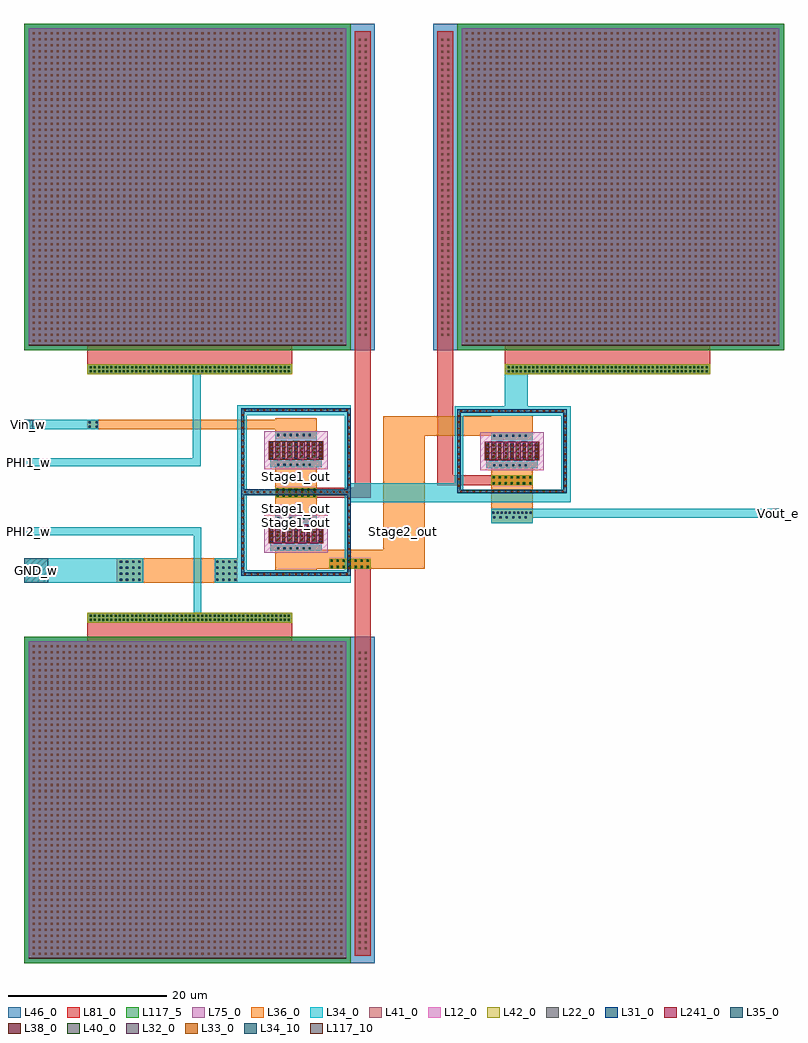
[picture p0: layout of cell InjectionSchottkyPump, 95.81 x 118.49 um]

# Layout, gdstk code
import gdstk
lib = gdstk.Library(unit=1e-6, precision=1e-09)
def R(c, l, rs):  # rectangles x0, y0, x1, y1
    for r in rs: c.add(gdstk.rectangle(r[:2], r[2:], *l))
def A(c, l, x, y, w, h, nx, ny, dx, dy):  # array of equal rectangles
    R(c, l, [(x+i*dx, y+j*dy, x+i*dx+w, y+j*dy+h) for i in range(nx) for j in range(ny)])
def P(c, l, *ps):  # polygons
    for p in ps: c.add(gdstk.Polygon(p, *l))
L12_0 = (12, 0)
L22_0 = (22, 0)
L31_0 = (31, 0)
L32_0 = (32, 0)
L33_0 = (33, 0)
L34_0 = (34, 0)
L34_10 = (34, 10)
L35_0 = (35, 0)
L36_0 = (36, 0)
L38_0 = (38, 0)
L40_0 = (40, 0)
L41_0 = (41, 0)
L42_0 = (42, 0)
L46_0 = (46, 0)
L75_0 = (75, 0)
L81_0 = (81, 0)
L117_5 = (117, 5)
L117_10 = (117, 10)
L241_0 = (241, 0)

sc_diode = lib.new_cell('sc_diode')
R(sc_diode, L12_0, [(-0.76,-1.4,7.28,3.4)])
A(sc_diode, L22_0, 0, 0, 0.36, 2, 5, 1, 1.54, 0)
A(sc_diode, L22_0, 0.64, 0, 0.62, 2, 4, 1, 1.54, 0)
P(sc_diode, L22_0, [(-3.62,-4.26),(-3.62,5.9),(-3.26,5.9),(-3.26,-3.9),(9.78,-3.9),(9.78,5.9),(-3.62,5.9),(-3.62,6.26),(10.14,6.26),(10.14,-4.26)])
P(sc_diode, L31_0, [(-3.65,-4.29),(-3.65,5.87),(-3.23,5.87),(-3.23,-3.87),(9.75,-3.87),(9.75,5.87),(-3.65,5.87),(-3.65,6.29),(10.17,6.29),(10.17,-4.29)])
A(sc_diode, L32_0, -0.03, -0.03, 0.42, 2.06, 5, 1, 1.54, 0)
A(sc_diode, L33_0, 0.07, 0.185, 0.22, 0.22, 9, 4, 0.77, 0.47)
A(sc_diode, L34_0, 0, -0.23, 0.36, 2.23, 5, 1, 1.54, 0)
A(sc_diode, L34_0, 0.64, 0, 0.62, 2.23, 4, 1, 1.54, 0)
R(sc_diode, L34_0, [(0,-0.46,6.52,-0.23), (0.64,2.23,5.88,2.46)])
R(sc_diode, L241_0, [(-0.16,-0.16,6.68,2.16)])

cap_mim = lib.new_cell('cap_mim')
A(cap_mim, L41_0, 0.49, 0.49, 0.26, 0.26, 52, 52, 0.76, 0.76)
R(cap_mim, L46_0, [(-0.6,-0.6,40.6,40.6)])
R(cap_mim, L75_0, [(0,0,40,40)])
R(cap_mim, L81_0, [(0,0,40,40)])
R(cap_mim, L117_5, [(-0.6,-0.6,40.6,40.6)])
R(cap_mim, L117_10, [(0,0,40,0.1)])

injectionschottkypump = lib.new_cell('InjectionSchottkyPump')
A(injectionschottkypump, L33_0, 27.76, 48.97, 0.22, 0.22, 17, 2, 0.8, 20.68)
A(injectionschottkypump, L33_0, 27.47, 49.7, 0.22, 0.22, 1, 12, 0, 0.8)
A(injectionschottkypump, L33_0, 40.87, 49.7, 0.22, 0.22, 1, 12, 0, 0.8)
A(injectionschottkypump, L33_0, 54.7, 60.12, 0.22, 0.22, 1, 12, 0, 0.8)
A(injectionschottkypump, L33_0, 68.1, 60.12, 0.22, 0.22, 1, 12, 0, 0.8)
A(injectionschottkypump, L33_0, 27.47, 60.22, 0.22, 0.22, 1, 12, 0, 0.8)
A(injectionschottkypump, L33_0, 40.87, 60.22, 0.22, 0.22, 1, 12, 0, 0.8)
A(injectionschottkypump, L33_0, 54.99, 69.55, 0.22, 0.22, 17, 1, 0.8, 0)
R(injectionschottkypump, L33_0, [(27.76,59.34,27.98,59.56), (27.76,59.34,27.98,59.56), (28.56,59.34,28.78,59.56), (28.56,59.34,28.78,59.56), (29.36,59.34,29.58,59.56), (29.36,59.34,29.58,59.56), (30.16,59.34,30.38,59.56), (30.16,59.34,30.38,59.56), (30.96,59.34,31.18,59.56), (30.96,59.34,31.18,59.56), (31.76,59.34,31.98,59.56), (31.76,59.34,31.98,59.56), (32.56,59.34,32.78,59.56), (32.56,59.34,32.78,59.56), (33.36,59.34,33.58,59.56), (33.36,59.34,33.58,59.56), (34.16,59.34,34.38,59.56), (34.16,59.34,34.38,59.56), (34.96,59.34,35.18,59.56), (34.96,59.34,35.18,59.56), (35.76,59.34,35.98,59.56), (35.76,59.34,35.98,59.56), (36.56,59.34,36.78,59.56), (36.56,59.34,36.78,59.56), (37.36,59.34,37.58,59.56), (37.36,59.34,37.58,59.56), (38.16,59.34,38.38,59.56), (38.16,59.34,38.38,59.56), (38.96,59.34,39.18,59.56), (38.96,59.34,39.18,59.56), (39.76,59.34,39.98,59.56), (39.76,59.34,39.98,59.56), (40.56,59.34,40.78,59.56), (40.56,59.34,40.78,59.56), (54.99,59.39,55.21,59.61), (54.99,59.39,55.21,59.61), (55.79,59.39,56.01,59.61), (55.79,59.39,56.01,59.61), (56.59,59.39,56.81,59.61), (56.59,59.39,56.81,59.61), (57.39,59.39,57.61,59.61), (57.39,59.39,57.61,59.61), (58.19,59.39,58.41,59.61), (58.19,59.39,58.41,59.61), (58.99,59.39,59.21,59.61), (58.99,59.39,59.21,59.61), (59.79,59.39,60.01,59.61), (59.79,59.39,60.01,59.61), (60.59,59.39,60.81,59.61), (60.59,59.39,60.81,59.61), (61.39,59.39,61.61,59.61), (61.39,59.39,61.61,59.61), (62.19,59.39,62.41,59.61), (62.19,59.39,62.41,59.61), (62.99,59.39,63.21,59.61), (62.99,59.39,63.21,59.61), (63.79,59.39,64.01,59.61), (63.79,59.39,64.01,59.61), (64.59,59.39,64.81,59.61), (64.59,59.39,64.81,59.61), (65.39,59.39,65.61,59.61), (65.39,59.39,65.61,59.61), (66.19,59.39,66.41,59.61), (66.19,59.39,66.41,59.61), (66.99,59.39,67.21,59.61), (66.99,59.39,67.21,59.61), (67.79,59.39,68.01,59.61), (67.79,59.39,68.01,59.61)])
A(injectionschottkypump, L34_0, 7.945, 42.965, 2.47, 1.245, 16, 2, 1.56, 31.315)
A(injectionschottkypump, L34_0, 60.605, 74.28, 2.47, 1.245, 16, 1, 1.56, 0)
R(injectionschottkypump, L34_0, [(21.365,44.18,22.365,55), (0,48.02,15,51.07), (24.01,48.02,27.375,51.07), (26.9,48.02,28.09,69.97), (26.9,48.02,41.19,49.545), (27.375,48.02,41.195,48.99), (40.46,48.02,41.19,70.35), (27.375,48.84,41.195,48.87), (27.37,48.87,41.19,49.29), (27.37,48.87,27.79,59.03), (40.77,48.87,41.19,59.45), (31.02,52.02,37.54,52.7), (19.435,54,22.365,55), (58.885,55.52,64.13,56.46), (58.885,55.52,64.13,56.46), (58.89,55.52,64.135,56.46), (58.89,55.52,64.135,56.46), (58.89,55.52,64.135,56.46), (58.89,55.52,64.135,56.46), (31.66,55.62,36.905,56.56), (31.66,55.62,36.905,56.56), (31.66,55.62,36.905,56.56), (31.66,55.62,36.905,56.56), (58.885,55.77,64.13,56.71), (58.885,55.77,64.13,56.71), (58.89,55.77,64.135,56.71), (58.89,55.77,64.135,56.71), (58.89,55.77,64.135,56.71), (58.89,55.77,64.135,56.71), (86.405,56.16,95.795,57.32), (41.095,58.15,54.695,60.545), (41.095,58.15,54.695,60.545), (41.095,58.15,54.695,60.545), (54.28,58.15,55.35,70.25), (54.695,58.15,68.415,59.15), (67.74,58.15,68.92,70.25), (54.6,58.58,68.315,59.71), (27.37,59.03,40.77,59.39), (54.6,59.29,68.42,59.71), (54.6,59.29,68.42,59.71), (54.6,59.29,55.02,69.45), (68,59.29,68.42,69.87), (27.37,59.39,41.19,59.81), (27.37,59.39,41.19,59.81), (27.37,59.39,27.79,69.55), (40.77,59.39,41.19,69.97), (58.25,62.44,64.77,63.12), (31.02,62.54,37.54,63.22), (19.335,62.7,22.265,63.7), (21.26,63.01,22.265,75.29), (58.885,66.04,64.13,66.98), (58.89,66.04,64.135,66.98), (58.89,66.04,64.135,66.98), (31.66,66.14,36.905,67.08), (31.66,66.14,36.905,67.08), (-0.005,67.37,9.385,68.53), (54.28,69.07,68.92,70.25), (26.9,69.11,41.19,70.35), (54.6,69.45,68.42,69.87), (27.37,69.55,41.19,69.97), (60.605,69.73,63.495,74.28)])
R(injectionschottkypump, L34_10, [(0,48.02,3.04,51.07), (0,54,1.015,55), (94.505,56.16,95.795,57.32), (94.505,56.16,95.795,57.32), (0,62.7,1.015,63.7), (-0.005,67.37,1.175,68.53), (-0.005,67.37,1.175,68.53)])
A(injectionschottkypump, L35_0, 8.29, 43.185, 0.26, 0.26, 4, 2, 0.52, 0.52)
A(injectionschottkypump, L35_0, 9.85, 43.185, 0.26, 0.26, 4, 2, 0.52, 0.52)
A(injectionschottkypump, L35_0, 11.41, 43.185, 0.26, 0.26, 4, 2, 0.52, 0.52)
A(injectionschottkypump, L35_0, 12.97, 43.185, 0.26, 0.26, 4, 2, 0.52, 0.52)
A(injectionschottkypump, L35_0, 14.53, 43.185, 0.26, 0.26, 4, 2, 0.52, 0.52)
A(injectionschottkypump, L35_0, 16.09, 43.185, 0.26, 0.26, 4, 2, 0.52, 0.52)
A(injectionschottkypump, L35_0, 17.65, 43.185, 0.26, 0.26, 4, 2, 0.52, 0.52)
A(injectionschottkypump, L35_0, 19.21, 43.185, 0.26, 0.26, 4, 2, 0.52, 0.52)
A(injectionschottkypump, L35_0, 20.77, 43.185, 0.26, 0.26, 4, 2, 0.52, 0.52)
A(injectionschottkypump, L35_0, 22.33, 43.185, 0.26, 0.26, 4, 2, 0.52, 0.52)
A(injectionschottkypump, L35_0, 23.89, 43.185, 0.26, 0.26, 4, 2, 0.52, 0.52)
A(injectionschottkypump, L35_0, 25.45, 43.185, 0.26, 0.26, 4, 2, 0.52, 0.52)
A(injectionschottkypump, L35_0, 27.01, 43.185, 0.26, 0.26, 4, 2, 0.52, 0.52)
A(injectionschottkypump, L35_0, 28.57, 43.185, 0.26, 0.26, 4, 2, 0.52, 0.52)
A(injectionschottkypump, L35_0, 30.13, 43.185, 0.26, 0.26, 4, 2, 0.52, 0.52)
A(injectionschottkypump, L35_0, 31.69, 43.185, 0.26, 0.26, 4, 2, 0.52, 0.52)
A(injectionschottkypump, L35_0, 12.09, 48.22, 0.26, 0.26, 4, 4, 0.76, 0.76)
A(injectionschottkypump, L35_0, 24.2, 48.23, 0.26, 0.26, 3, 4, 0.76, 0.76)
A(injectionschottkypump, L35_0, 25.72, 48.23, 0.26, 0.26, 1, 4, 0, 0.76)
A(injectionschottkypump, L35_0, 31.905, 52.24, 0.26, 0.26, 6, 2, 0.8, 10.52)
A(injectionschottkypump, L35_0, 59.045, 56.705, 0.26, 0.26, 10, 1, 0.52, 0)
A(injectionschottkypump, L35_0, 59.135, 62.66, 0.26, 0.26, 6, 2, 0.8, 3.73)
A(injectionschottkypump, L35_0, 8.29, 74.525, 0.26, 0.26, 4, 2, 0.52, 0.52)
A(injectionschottkypump, L35_0, 9.85, 74.525, 0.26, 0.26, 4, 2, 0.52, 0.52)
A(injectionschottkypump, L35_0, 11.41, 74.525, 0.26, 0.26, 4, 2, 0.52, 0.52)
A(injectionschottkypump, L35_0, 12.97, 74.525, 0.26, 0.26, 4, 2, 0.52, 0.52)
A(injectionschottkypump, L35_0, 14.53, 74.525, 0.26, 0.26, 4, 2, 0.52, 0.52)
A(injectionschottkypump, L35_0, 16.09, 74.525, 0.26, 0.26, 4, 2, 0.52, 0.52)
A(injectionschottkypump, L35_0, 17.65, 74.525, 0.26, 0.26, 4, 2, 0.52, 0.52)
A(injectionschottkypump, L35_0, 19.21, 74.525, 0.26, 0.26, 4, 2, 0.52, 0.52)
A(injectionschottkypump, L35_0, 20.77, 74.525, 0.26, 0.26, 4, 2, 0.52, 0.52)
A(injectionschottkypump, L35_0, 22.33, 74.525, 0.26, 0.26, 4, 2, 0.52, 0.52)
A(injectionschottkypump, L35_0, 23.89, 74.525, 0.26, 0.26, 4, 2, 0.52, 0.52)
A(injectionschottkypump, L35_0, 25.45, 74.525, 0.26, 0.26, 4, 2, 0.52, 0.52)
A(injectionschottkypump, L35_0, 27.01, 74.525, 0.26, 0.26, 4, 2, 0.52, 0.52)
A(injectionschottkypump, L35_0, 28.57, 74.525, 0.26, 0.26, 4, 2, 0.52, 0.52)
A(injectionschottkypump, L35_0, 30.13, 74.525, 0.26, 0.26, 4, 2, 0.52, 0.52)
A(injectionschottkypump, L35_0, 31.69, 74.525, 0.26, 0.26, 4, 2, 0.52, 0.52)
A(injectionschottkypump, L35_0, 60.95, 74.525, 0.26, 0.26, 4, 2, 0.52, 0.52)
A(injectionschottkypump, L35_0, 62.51, 74.525, 0.26, 0.26, 4, 2, 0.52, 0.52)
A(injectionschottkypump, L35_0, 64.07, 74.525, 0.26, 0.26, 4, 2, 0.52, 0.52)
A(injectionschottkypump, L35_0, 65.63, 74.525, 0.26, 0.26, 4, 2, 0.52, 0.52)
A(injectionschottkypump, L35_0, 67.19, 74.525, 0.26, 0.26, 4, 2, 0.52, 0.52)
A(injectionschottkypump, L35_0, 68.75, 74.525, 0.26, 0.26, 4, 2, 0.52, 0.52)
A(injectionschottkypump, L35_0, 70.31, 74.525, 0.26, 0.26, 4, 2, 0.52, 0.52)
A(injectionschottkypump, L35_0, 71.87, 74.525, 0.26, 0.26, 4, 2, 0.52, 0.52)
A(injectionschottkypump, L35_0, 73.43, 74.525, 0.26, 0.26, 4, 2, 0.52, 0.52)
A(injectionschottkypump, L35_0, 74.99, 74.525, 0.26, 0.26, 4, 2, 0.52, 0.52)
A(injectionschottkypump, L35_0, 76.55, 74.525, 0.26, 0.26, 4, 2, 0.52, 0.52)
A(injectionschottkypump, L35_0, 78.11, 74.525, 0.26, 0.26, 4, 2, 0.52, 0.52)
A(injectionschottkypump, L35_0, 79.67, 74.525, 0.26, 0.26, 4, 2, 0.52, 0.52)
A(injectionschottkypump, L35_0, 81.23, 74.525, 0.26, 0.26, 4, 2, 0.52, 0.52)
A(injectionschottkypump, L35_0, 82.79, 74.525, 0.26, 0.26, 4, 2, 0.52, 0.52)
A(injectionschottkypump, L35_0, 84.35, 74.525, 0.26, 0.26, 4, 2, 0.52, 0.52)
R(injectionschottkypump, L35_0, [(8.29,43.705,8.55,43.965), (9.85,43.705,10.11,43.965), (11.41,43.705,11.67,43.965), (12.97,43.705,13.23,43.965), (14.53,43.705,14.79,43.965), (16.09,43.705,16.35,43.965), (17.65,43.705,17.91,43.965), (19.21,43.705,19.47,43.965), (20.77,43.705,21.03,43.965), (22.33,43.705,22.59,43.965), (23.89,43.705,24.15,43.965), (25.45,43.705,25.71,43.965), (27.01,43.705,27.27,43.965), (28.57,43.705,28.83,43.965), (30.13,43.705,30.39,43.965), (31.69,43.705,31.95,43.965), (26.48,48.23,26.74,48.49), (26.48,48.23,26.74,48.49), (26.48,48.99,26.74,49.25), (26.48,48.99,26.74,49.25), (26.48,49.75,26.74,50.01), (26.48,49.75,26.74,50.01), (26.48,50.51,26.74,50.77), (26.48,50.51,26.74,50.77), (31.91,55.97,32.17,56.23), (31.91,55.97,32.17,56.23), (32.71,55.97,32.97,56.23), (32.71,55.97,32.97,56.23), (33.51,55.97,33.77,56.23), (33.51,55.97,33.77,56.23), (34.31,55.97,34.57,56.23), (34.31,55.97,34.57,56.23), (35.11,55.97,35.37,56.23), (35.11,55.97,35.37,56.23), (35.91,55.97,36.17,56.23), (35.91,55.97,36.17,56.23), (59.135,56.12,59.395,56.38), (59.135,56.12,59.395,56.38), (59.935,56.12,60.195,56.38), (59.935,56.12,60.195,56.38), (60.735,56.12,60.995,56.38), (60.735,56.12,60.995,56.38), (61.535,56.12,61.795,56.38), (61.535,56.12,61.795,56.38), (62.335,56.12,62.595,56.38), (62.335,56.12,62.595,56.38), (63.135,56.12,63.395,56.38), (63.135,56.12,63.395,56.38), (31.91,66.49,32.17,66.75), (31.91,66.49,32.17,66.75), (32.71,66.49,32.97,66.75), (32.71,66.49,32.97,66.75), (33.51,66.49,33.77,66.75), (33.51,66.49,33.77,66.75), (34.31,66.49,34.57,66.75), (34.31,66.49,34.57,66.75), (35.11,66.49,35.37,66.75), (35.11,66.49,35.37,66.75), (35.91,66.49,36.17,66.75), (35.91,66.49,36.17,66.75), (8.175,67.53,8.435,67.79), (9.015,67.53,9.275,67.79), (8.175,68.07,8.435,68.33), (9.015,68.07,9.275,68.33), (8.29,74.525,8.55,74.785), (9.85,74.525,10.11,74.785), (11.41,74.525,11.67,74.785), (12.97,74.525,13.23,74.785), (14.53,74.525,14.79,74.785), (16.09,74.525,16.35,74.785), (17.65,74.525,17.91,74.785), (19.21,74.525,19.47,74.785), (20.77,74.525,21.03,74.785), (22.33,74.525,22.59,74.785), (23.89,74.525,24.15,74.785), (25.45,74.525,25.71,74.785), (27.01,74.525,27.27,74.785), (28.57,74.525,28.83,74.785), (30.13,74.525,30.39,74.785), (31.69,74.525,31.95,74.785), (60.95,74.525,61.21,74.785), (62.51,74.525,62.77,74.785), (64.07,74.525,64.33,74.785), (65.63,74.525,65.89,74.785), (67.19,74.525,67.45,74.785), (68.75,74.525,69.01,74.785), (70.31,74.525,70.57,74.785), (71.87,74.525,72.13,74.785), (73.43,74.525,73.69,74.785), (74.99,74.525,75.25,74.785), (76.55,74.525,76.81,74.785), (78.11,74.525,78.37,74.785), (79.67,74.525,79.93,74.785), (81.23,74.525,81.49,74.785), (82.79,74.525,83.05,74.785), (84.35,74.525,84.61,74.785)])
A(injectionschottkypump, L36_0, 7.945, 42.965, 2.47, 1.245, 16, 2, 1.56, 31.315)
A(injectionschottkypump, L36_0, 60.605, 74.28, 2.47, 1.245, 16, 1, 1.56, 0)
R(injectionschottkypump, L36_0, [(11.68,48.02,26.9,51.07), (31.665,49.58,36.905,52.02), (36.905,49.73,45.275,52.17), (36.905,49.73,45.275,52.17), (36.905,49.73,45.275,52.17), (45.275,49.73,50.515,68.99), (45.275,49.73,50.515,68.99), (45.275,49.73,50.515,68.99), (31.02,52.02,37.54,52.7), (58.89,55.52,64.125,56.44), (58.89,55.52,64.125,56.44), (31.665,55.62,36.9,56.54), (31.665,55.62,36.9,56.54), (58.89,55.77,64.125,56.69), (58.89,55.77,64.125,56.69), (58.885,56.16,64.125,60.28), (31.665,56.39,36.905,62.33), (31.665,56.39,36.905,62.33), (31.665,56.39,36.905,62.33), (58.885,56.39,64.125,62.33), (58.885,56.39,64.125,62.33), (31.665,62.33,36.91,62.54), (58.885,62.33,64.13,62.44), (58.25,62.44,64.77,63.12), (31.02,62.54,37.54,63.22), (58.89,66.04,64.125,66.96), (31.665,66.14,36.9,67.06), (31.665,66.14,36.9,67.06), (50.515,66.55,58.885,68.99), (50.515,66.55,58.885,68.99), (50.515,66.55,58.885,68.99), (58.885,66.55,58.89,66.66), (58.885,66.66,64.125,69.1), (31.665,66.76,36.905,68.74), (7.995,67.37,31.665,68.53)])
A(injectionschottkypump, L38_0, 8.29, 43.185, 0.26, 0.26, 4, 2, 0.52, 0.52)
A(injectionschottkypump, L38_0, 9.85, 43.185, 0.26, 0.26, 4, 2, 0.52, 0.52)
A(injectionschottkypump, L38_0, 11.41, 43.185, 0.26, 0.26, 4, 2, 0.52, 0.52)
A(injectionschottkypump, L38_0, 12.97, 43.185, 0.26, 0.26, 4, 2, 0.52, 0.52)
A(injectionschottkypump, L38_0, 14.53, 43.185, 0.26, 0.26, 4, 2, 0.52, 0.52)
A(injectionschottkypump, L38_0, 16.09, 43.185, 0.26, 0.26, 4, 2, 0.52, 0.52)
A(injectionschottkypump, L38_0, 17.65, 43.185, 0.26, 0.26, 4, 2, 0.52, 0.52)
A(injectionschottkypump, L38_0, 19.21, 43.185, 0.26, 0.26, 4, 2, 0.52, 0.52)
A(injectionschottkypump, L38_0, 20.77, 43.185, 0.26, 0.26, 4, 2, 0.52, 0.52)
A(injectionschottkypump, L38_0, 22.33, 43.185, 0.26, 0.26, 4, 2, 0.52, 0.52)
A(injectionschottkypump, L38_0, 23.89, 43.185, 0.26, 0.26, 4, 2, 0.52, 0.52)
A(injectionschottkypump, L38_0, 25.45, 43.185, 0.26, 0.26, 4, 2, 0.52, 0.52)
A(injectionschottkypump, L38_0, 27.01, 43.185, 0.26, 0.26, 4, 2, 0.52, 0.52)
A(injectionschottkypump, L38_0, 28.57, 43.185, 0.26, 0.26, 4, 2, 0.52, 0.52)
A(injectionschottkypump, L38_0, 30.13, 43.185, 0.26, 0.26, 4, 2, 0.52, 0.52)
A(injectionschottkypump, L38_0, 31.69, 43.185, 0.26, 0.26, 4, 2, 0.52, 0.52)
A(injectionschottkypump, L38_0, 59.095, 60.4, 0.26, 0.26, 7, 2, 0.76, 0.76)
A(injectionschottkypump, L38_0, 8.29, 74.525, 0.26, 0.26, 4, 2, 0.52, 0.52)
A(injectionschottkypump, L38_0, 9.85, 74.525, 0.26, 0.26, 4, 2, 0.52, 0.52)
A(injectionschottkypump, L38_0, 11.41, 74.525, 0.26, 0.26, 4, 2, 0.52, 0.52)
A(injectionschottkypump, L38_0, 12.97, 74.525, 0.26, 0.26, 4, 2, 0.52, 0.52)
A(injectionschottkypump, L38_0, 14.53, 74.525, 0.26, 0.26, 4, 2, 0.52, 0.52)
A(injectionschottkypump, L38_0, 16.09, 74.525, 0.26, 0.26, 4, 2, 0.52, 0.52)
A(injectionschottkypump, L38_0, 17.65, 74.525, 0.26, 0.26, 4, 2, 0.52, 0.52)
A(injectionschottkypump, L38_0, 19.21, 74.525, 0.26, 0.26, 4, 2, 0.52, 0.52)
A(injectionschottkypump, L38_0, 20.77, 74.525, 0.26, 0.26, 4, 2, 0.52, 0.52)
A(injectionschottkypump, L38_0, 22.33, 74.525, 0.26, 0.26, 4, 2, 0.52, 0.52)
A(injectionschottkypump, L38_0, 23.89, 74.525, 0.26, 0.26, 4, 2, 0.52, 0.52)
A(injectionschottkypump, L38_0, 25.45, 74.525, 0.26, 0.26, 4, 2, 0.52, 0.52)
A(injectionschottkypump, L38_0, 27.01, 74.525, 0.26, 0.26, 4, 2, 0.52, 0.52)
A(injectionschottkypump, L38_0, 28.57, 74.525, 0.26, 0.26, 4, 2, 0.52, 0.52)
A(injectionschottkypump, L38_0, 30.13, 74.525, 0.26, 0.26, 4, 2, 0.52, 0.52)
A(injectionschottkypump, L38_0, 31.69, 74.525, 0.26, 0.26, 4, 2, 0.52, 0.52)
A(injectionschottkypump, L38_0, 60.95, 74.525, 0.26, 0.26, 4, 2, 0.52, 0.52)
A(injectionschottkypump, L38_0, 62.51, 74.525, 0.26, 0.26, 4, 2, 0.52, 0.52)
A(injectionschottkypump, L38_0, 64.07, 74.525, 0.26, 0.26, 4, 2, 0.52, 0.52)
A(injectionschottkypump, L38_0, 65.63, 74.525, 0.26, 0.26, 4, 2, 0.52, 0.52)
A(injectionschottkypump, L38_0, 67.19, 74.525, 0.26, 0.26, 4, 2, 0.52, 0.52)
A(injectionschottkypump, L38_0, 68.75, 74.525, 0.26, 0.26, 4, 2, 0.52, 0.52)
A(injectionschottkypump, L38_0, 70.31, 74.525, 0.26, 0.26, 4, 2, 0.52, 0.52)
A(injectionschottkypump, L38_0, 71.87, 74.525, 0.26, 0.26, 4, 2, 0.52, 0.52)
A(injectionschottkypump, L38_0, 73.43, 74.525, 0.26, 0.26, 4, 2, 0.52, 0.52)
A(injectionschottkypump, L38_0, 74.99, 74.525, 0.26, 0.26, 4, 2, 0.52, 0.52)
A(injectionschottkypump, L38_0, 76.55, 74.525, 0.26, 0.26, 4, 2, 0.52, 0.52)
A(injectionschottkypump, L38_0, 78.11, 74.525, 0.26, 0.26, 4, 2, 0.52, 0.52)
A(injectionschottkypump, L38_0, 79.67, 74.525, 0.26, 0.26, 4, 2, 0.52, 0.52)
A(injectionschottkypump, L38_0, 81.23, 74.525, 0.26, 0.26, 4, 2, 0.52, 0.52)
A(injectionschottkypump, L38_0, 82.79, 74.525, 0.26, 0.26, 4, 2, 0.52, 0.52)
A(injectionschottkypump, L38_0, 84.35, 74.525, 0.26, 0.26, 4, 2, 0.52, 0.52)
R(injectionschottkypump, L38_0, [(38.665,49.85,38.925,50.11), (38.665,49.85,38.925,50.11), (39.425,49.85,39.685,50.11), (39.425,49.85,39.685,50.11), (40.185,49.85,40.445,50.11), (40.185,49.85,40.445,50.11), (40.945,49.85,41.205,50.11), (40.945,49.85,41.205,50.11), (41.705,49.85,41.965,50.11), (41.705,49.85,41.965,50.11), (42.465,49.85,42.725,50.11), (42.465,49.85,42.725,50.11), (43.225,49.85,43.485,50.11), (43.225,49.85,43.485,50.11), (38.665,50.61,38.925,50.87), (38.665,50.61,38.925,50.87), (39.425,50.61,39.685,50.87), (39.425,50.61,39.685,50.87), (40.185,50.61,40.445,50.87), (40.185,50.61,40.445,50.87), (40.945,50.61,41.205,50.87), (40.945,50.61,41.205,50.87), (41.705,50.61,41.965,50.87), (41.705,50.61,41.965,50.87), (42.465,50.61,42.725,50.87), (42.465,50.61,42.725,50.87), (43.225,50.61,43.485,50.87), (43.225,50.61,43.485,50.87), (31.875,58.85,32.135,59.11), (31.875,58.85,32.135,59.11), (32.635,58.85,32.895,59.11), (32.635,58.85,32.895,59.11), (33.395,58.85,33.655,59.11), (33.395,58.85,33.655,59.11), (34.155,58.85,34.415,59.11), (34.155,58.85,34.415,59.11), (34.915,58.85,35.175,59.11), (34.915,58.85,35.175,59.11), (35.675,58.85,35.935,59.11), (35.675,58.85,35.935,59.11), (36.435,58.85,36.695,59.11), (36.435,58.85,36.695,59.11), (31.875,59.61,32.135,59.87), (31.875,59.61,32.135,59.87), (32.635,59.61,32.895,59.87), (32.635,59.61,32.895,59.87), (33.395,59.61,33.655,59.87), (33.395,59.61,33.655,59.87), (34.155,59.61,34.415,59.87), (34.155,59.61,34.415,59.87), (34.915,59.61,35.175,59.87), (34.915,59.61,35.175,59.87), (35.675,59.61,35.935,59.87), (35.675,59.61,35.935,59.87), (36.435,59.61,36.695,59.87), (36.435,59.61,36.695,59.87)])
A(injectionschottkypump, L40_0, 8.29, 43.185, 0.26, 0.26, 4, 2, 0.52, 0.52)
A(injectionschottkypump, L40_0, 9.85, 43.185, 0.26, 0.26, 4, 2, 0.52, 0.52)
A(injectionschottkypump, L40_0, 11.41, 43.185, 0.26, 0.26, 4, 2, 0.52, 0.52)
A(injectionschottkypump, L40_0, 12.97, 43.185, 0.26, 0.26, 4, 2, 0.52, 0.52)
A(injectionschottkypump, L40_0, 14.53, 43.185, 0.26, 0.26, 4, 2, 0.52, 0.52)
A(injectionschottkypump, L40_0, 16.09, 43.185, 0.26, 0.26, 4, 2, 0.52, 0.52)
A(injectionschottkypump, L40_0, 17.65, 43.185, 0.26, 0.26, 4, 2, 0.52, 0.52)
A(injectionschottkypump, L40_0, 19.21, 43.185, 0.26, 0.26, 4, 2, 0.52, 0.52)
A(injectionschottkypump, L40_0, 20.77, 43.185, 0.26, 0.26, 4, 2, 0.52, 0.52)
A(injectionschottkypump, L40_0, 22.33, 43.185, 0.26, 0.26, 4, 2, 0.52, 0.52)
A(injectionschottkypump, L40_0, 23.89, 43.185, 0.26, 0.26, 4, 2, 0.52, 0.52)
A(injectionschottkypump, L40_0, 25.45, 43.185, 0.26, 0.26, 4, 2, 0.52, 0.52)
A(injectionschottkypump, L40_0, 27.01, 43.185, 0.26, 0.26, 4, 2, 0.52, 0.52)
A(injectionschottkypump, L40_0, 28.57, 43.185, 0.26, 0.26, 4, 2, 0.52, 0.52)
A(injectionschottkypump, L40_0, 30.13, 43.185, 0.26, 0.26, 4, 2, 0.52, 0.52)
A(injectionschottkypump, L40_0, 31.69, 43.185, 0.26, 0.26, 4, 2, 0.52, 0.52)
A(injectionschottkypump, L40_0, 59.095, 60.4, 0.26, 0.26, 7, 2, 0.76, 0.76)
A(injectionschottkypump, L40_0, 8.29, 74.525, 0.26, 0.26, 4, 2, 0.52, 0.52)
A(injectionschottkypump, L40_0, 9.85, 74.525, 0.26, 0.26, 4, 2, 0.52, 0.52)
A(injectionschottkypump, L40_0, 11.41, 74.525, 0.26, 0.26, 4, 2, 0.52, 0.52)
A(injectionschottkypump, L40_0, 12.97, 74.525, 0.26, 0.26, 4, 2, 0.52, 0.52)
A(injectionschottkypump, L40_0, 14.53, 74.525, 0.26, 0.26, 4, 2, 0.52, 0.52)
A(injectionschottkypump, L40_0, 16.09, 74.525, 0.26, 0.26, 4, 2, 0.52, 0.52)
A(injectionschottkypump, L40_0, 17.65, 74.525, 0.26, 0.26, 4, 2, 0.52, 0.52)
A(injectionschottkypump, L40_0, 19.21, 74.525, 0.26, 0.26, 4, 2, 0.52, 0.52)
A(injectionschottkypump, L40_0, 20.77, 74.525, 0.26, 0.26, 4, 2, 0.52, 0.52)
A(injectionschottkypump, L40_0, 22.33, 74.525, 0.26, 0.26, 4, 2, 0.52, 0.52)
A(injectionschottkypump, L40_0, 23.89, 74.525, 0.26, 0.26, 4, 2, 0.52, 0.52)
A(injectionschottkypump, L40_0, 25.45, 74.525, 0.26, 0.26, 4, 2, 0.52, 0.52)
A(injectionschottkypump, L40_0, 27.01, 74.525, 0.26, 0.26, 4, 2, 0.52, 0.52)
A(injectionschottkypump, L40_0, 28.57, 74.525, 0.26, 0.26, 4, 2, 0.52, 0.52)
A(injectionschottkypump, L40_0, 30.13, 74.525, 0.26, 0.26, 4, 2, 0.52, 0.52)
A(injectionschottkypump, L40_0, 31.69, 74.525, 0.26, 0.26, 4, 2, 0.52, 0.52)
A(injectionschottkypump, L40_0, 60.95, 74.525, 0.26, 0.26, 4, 2, 0.52, 0.52)
A(injectionschottkypump, L40_0, 62.51, 74.525, 0.26, 0.26, 4, 2, 0.52, 0.52)
A(injectionschottkypump, L40_0, 64.07, 74.525, 0.26, 0.26, 4, 2, 0.52, 0.52)
A(injectionschottkypump, L40_0, 65.63, 74.525, 0.26, 0.26, 4, 2, 0.52, 0.52)
A(injectionschottkypump, L40_0, 67.19, 74.525, 0.26, 0.26, 4, 2, 0.52, 0.52)
A(injectionschottkypump, L40_0, 68.75, 74.525, 0.26, 0.26, 4, 2, 0.52, 0.52)
A(injectionschottkypump, L40_0, 70.31, 74.525, 0.26, 0.26, 4, 2, 0.52, 0.52)
A(injectionschottkypump, L40_0, 71.87, 74.525, 0.26, 0.26, 4, 2, 0.52, 0.52)
A(injectionschottkypump, L40_0, 73.43, 74.525, 0.26, 0.26, 4, 2, 0.52, 0.52)
A(injectionschottkypump, L40_0, 74.99, 74.525, 0.26, 0.26, 4, 2, 0.52, 0.52)
A(injectionschottkypump, L40_0, 76.55, 74.525, 0.26, 0.26, 4, 2, 0.52, 0.52)
A(injectionschottkypump, L40_0, 78.11, 74.525, 0.26, 0.26, 4, 2, 0.52, 0.52)
A(injectionschottkypump, L40_0, 79.67, 74.525, 0.26, 0.26, 4, 2, 0.52, 0.52)
A(injectionschottkypump, L40_0, 81.23, 74.525, 0.26, 0.26, 4, 2, 0.52, 0.52)
A(injectionschottkypump, L40_0, 82.79, 74.525, 0.26, 0.26, 4, 2, 0.52, 0.52)
A(injectionschottkypump, L40_0, 84.35, 74.525, 0.26, 0.26, 4, 2, 0.52, 0.52)
R(injectionschottkypump, L40_0, [(38.665,49.85,38.925,50.11), (38.665,49.85,38.925,50.11), (39.425,49.85,39.685,50.11), (39.425,49.85,39.685,50.11), (40.185,49.85,40.445,50.11), (40.185,49.85,40.445,50.11), (40.945,49.85,41.205,50.11), (40.945,49.85,41.205,50.11), (41.705,49.85,41.965,50.11), (41.705,49.85,41.965,50.11), (42.465,49.85,42.725,50.11), (42.465,49.85,42.725,50.11), (43.225,49.85,43.485,50.11), (43.225,49.85,43.485,50.11), (38.665,50.61,38.925,50.87), (38.665,50.61,38.925,50.87), (39.425,50.61,39.685,50.87), (39.425,50.61,39.685,50.87), (40.185,50.61,40.445,50.87), (40.185,50.61,40.445,50.87), (40.945,50.61,41.205,50.87), (40.945,50.61,41.205,50.87), (41.705,50.61,41.965,50.87), (41.705,50.61,41.965,50.87), (42.465,50.61,42.725,50.87), (42.465,50.61,42.725,50.87), (43.225,50.61,43.485,50.87), (43.225,50.61,43.485,50.87), (31.875,58.85,32.135,59.11), (31.875,58.85,32.135,59.11), (32.635,58.85,32.895,59.11), (32.635,58.85,32.895,59.11), (33.395,58.85,33.655,59.11), (33.395,58.85,33.655,59.11), (34.155,58.85,34.415,59.11), (34.155,58.85,34.415,59.11), (34.915,58.85,35.175,59.11), (34.915,58.85,35.175,59.11), (35.675,58.85,35.935,59.11), (35.675,58.85,35.935,59.11), (36.435,58.85,36.695,59.11), (36.435,58.85,36.695,59.11), (31.875,59.61,32.135,59.87), (31.875,59.61,32.135,59.87), (32.635,59.61,32.895,59.87), (32.635,59.61,32.895,59.87), (33.395,59.61,33.655,59.87), (33.395,59.61,33.655,59.87), (34.155,59.61,34.415,59.87), (34.155,59.61,34.415,59.87), (34.915,59.61,35.175,59.87), (34.915,59.61,35.175,59.87), (35.675,59.61,35.935,59.87), (35.675,59.61,35.935,59.87), (36.435,59.61,36.695,59.87), (36.435,59.61,36.695,59.87)])
A(injectionschottkypump, L41_0, 42.19, 1.81, 0.26, 0.26, 1, 50, 0, 0.76)
A(injectionschottkypump, L41_0, 42.95, 1.81, 0.26, 0.26, 1, 50, 0, 0.76)
A(injectionschottkypump, L41_0, 8.29, 43.185, 0.26, 0.26, 4, 2, 0.52, 0.52)
A(injectionschottkypump, L41_0, 9.85, 43.185, 0.26, 0.26, 4, 2, 0.52, 0.52)
A(injectionschottkypump, L41_0, 11.41, 43.185, 0.26, 0.26, 4, 2, 0.52, 0.52)
A(injectionschottkypump, L41_0, 12.97, 43.185, 0.26, 0.26, 4, 2, 0.52, 0.52)
A(injectionschottkypump, L41_0, 14.53, 43.185, 0.26, 0.26, 4, 2, 0.52, 0.52)
A(injectionschottkypump, L41_0, 16.09, 43.185, 0.26, 0.26, 4, 2, 0.52, 0.52)
A(injectionschottkypump, L41_0, 17.65, 43.185, 0.26, 0.26, 4, 2, 0.52, 0.52)
A(injectionschottkypump, L41_0, 19.21, 43.185, 0.26, 0.26, 4, 2, 0.52, 0.52)
A(injectionschottkypump, L41_0, 20.77, 43.185, 0.26, 0.26, 4, 2, 0.52, 0.52)
A(injectionschottkypump, L41_0, 22.33, 43.185, 0.26, 0.26, 4, 2, 0.52, 0.52)
A(injectionschottkypump, L41_0, 23.89, 43.185, 0.26, 0.26, 4, 2, 0.52, 0.52)
A(injectionschottkypump, L41_0, 25.45, 43.185, 0.26, 0.26, 4, 2, 0.52, 0.52)
A(injectionschottkypump, L41_0, 27.01, 43.185, 0.26, 0.26, 4, 2, 0.52, 0.52)
A(injectionschottkypump, L41_0, 28.57, 43.185, 0.26, 0.26, 4, 2, 0.52, 0.52)
A(injectionschottkypump, L41_0, 30.13, 43.185, 0.26, 0.26, 4, 2, 0.52, 0.52)
A(injectionschottkypump, L41_0, 31.69, 43.185, 0.26, 0.26, 4, 2, 0.52, 0.52)
A(injectionschottkypump, L41_0, 59.095, 60.4, 0.26, 0.26, 7, 2, 0.76, 0.76)
A(injectionschottkypump, L41_0, 8.29, 74.525, 0.26, 0.26, 4, 2, 0.52, 0.52)
A(injectionschottkypump, L41_0, 9.85, 74.525, 0.26, 0.26, 4, 2, 0.52, 0.52)
A(injectionschottkypump, L41_0, 11.41, 74.525, 0.26, 0.26, 4, 2, 0.52, 0.52)
A(injectionschottkypump, L41_0, 12.97, 74.525, 0.26, 0.26, 4, 2, 0.52, 0.52)
A(injectionschottkypump, L41_0, 14.53, 74.525, 0.26, 0.26, 4, 2, 0.52, 0.52)
A(injectionschottkypump, L41_0, 16.09, 74.525, 0.26, 0.26, 4, 2, 0.52, 0.52)
A(injectionschottkypump, L41_0, 17.65, 74.525, 0.26, 0.26, 4, 2, 0.52, 0.52)
A(injectionschottkypump, L41_0, 19.21, 74.525, 0.26, 0.26, 4, 2, 0.52, 0.52)
A(injectionschottkypump, L41_0, 20.77, 74.525, 0.26, 0.26, 4, 2, 0.52, 0.52)
A(injectionschottkypump, L41_0, 22.33, 74.525, 0.26, 0.26, 4, 2, 0.52, 0.52)
A(injectionschottkypump, L41_0, 23.89, 74.525, 0.26, 0.26, 4, 2, 0.52, 0.52)
A(injectionschottkypump, L41_0, 25.45, 74.525, 0.26, 0.26, 4, 2, 0.52, 0.52)
A(injectionschottkypump, L41_0, 27.01, 74.525, 0.26, 0.26, 4, 2, 0.52, 0.52)
A(injectionschottkypump, L41_0, 28.57, 74.525, 0.26, 0.26, 4, 2, 0.52, 0.52)
A(injectionschottkypump, L41_0, 30.13, 74.525, 0.26, 0.26, 4, 2, 0.52, 0.52)
A(injectionschottkypump, L41_0, 31.69, 74.525, 0.26, 0.26, 4, 2, 0.52, 0.52)
A(injectionschottkypump, L41_0, 60.95, 74.525, 0.26, 0.26, 4, 2, 0.52, 0.52)
A(injectionschottkypump, L41_0, 62.51, 74.525, 0.26, 0.26, 4, 2, 0.52, 0.52)
A(injectionschottkypump, L41_0, 64.07, 74.525, 0.26, 0.26, 4, 2, 0.52, 0.52)
A(injectionschottkypump, L41_0, 65.63, 74.525, 0.26, 0.26, 4, 2, 0.52, 0.52)
A(injectionschottkypump, L41_0, 67.19, 74.525, 0.26, 0.26, 4, 2, 0.52, 0.52)
A(injectionschottkypump, L41_0, 68.75, 74.525, 0.26, 0.26, 4, 2, 0.52, 0.52)
A(injectionschottkypump, L41_0, 70.31, 74.525, 0.26, 0.26, 4, 2, 0.52, 0.52)
A(injectionschottkypump, L41_0, 71.87, 74.525, 0.26, 0.26, 4, 2, 0.52, 0.52)
A(injectionschottkypump, L41_0, 73.43, 74.525, 0.26, 0.26, 4, 2, 0.52, 0.52)
A(injectionschottkypump, L41_0, 74.99, 74.525, 0.26, 0.26, 4, 2, 0.52, 0.52)
A(injectionschottkypump, L41_0, 76.55, 74.525, 0.26, 0.26, 4, 2, 0.52, 0.52)
A(injectionschottkypump, L41_0, 78.11, 74.525, 0.26, 0.26, 4, 2, 0.52, 0.52)
A(injectionschottkypump, L41_0, 79.67, 74.525, 0.26, 0.26, 4, 2, 0.52, 0.52)
A(injectionschottkypump, L41_0, 81.23, 74.525, 0.26, 0.26, 4, 2, 0.52, 0.52)
A(injectionschottkypump, L41_0, 82.79, 74.525, 0.26, 0.26, 4, 2, 0.52, 0.52)
A(injectionschottkypump, L41_0, 84.35, 74.525, 0.26, 0.26, 4, 2, 0.52, 0.52)
A(injectionschottkypump, L41_0, 42.19, 79.1, 0.26, 0.26, 1, 50, 0, 0.76)
A(injectionschottkypump, L41_0, 42.95, 79.1, 0.26, 0.26, 1, 50, 0, 0.76)
A(injectionschottkypump, L41_0, 52.59, 79.1, 0.26, 0.26, 1, 50, 0, 0.76)
A(injectionschottkypump, L41_0, 53.35, 79.1, 0.26, 0.26, 1, 50, 0, 0.76)
R(injectionschottkypump, L41_0, [(38.665,49.85,38.925,50.11), (38.665,49.85,38.925,50.11), (39.425,49.85,39.685,50.11), (39.425,49.85,39.685,50.11), (40.185,49.85,40.445,50.11), (40.185,49.85,40.445,50.11), (40.945,49.85,41.205,50.11), (40.945,49.85,41.205,50.11), (41.705,49.85,41.965,50.11), (41.705,49.85,41.965,50.11), (42.465,49.85,42.725,50.11), (42.465,49.85,42.725,50.11), (43.225,49.85,43.485,50.11), (43.225,49.85,43.485,50.11), (38.665,50.61,38.925,50.87), (38.665,50.61,38.925,50.87), (39.425,50.61,39.685,50.87), (39.425,50.61,39.685,50.87), (40.185,50.61,40.445,50.87), (40.185,50.61,40.445,50.87), (40.945,50.61,41.205,50.87), (40.945,50.61,41.205,50.87), (41.705,50.61,41.965,50.87), (41.705,50.61,41.965,50.87), (42.465,50.61,42.725,50.87), (42.465,50.61,42.725,50.87), (43.225,50.61,43.485,50.87), (43.225,50.61,43.485,50.87), (31.875,58.85,32.135,59.11), (31.875,58.85,32.135,59.11), (32.635,58.85,32.895,59.11), (32.635,58.85,32.895,59.11), (33.395,58.85,33.655,59.11), (33.395,58.85,33.655,59.11), (34.155,58.85,34.415,59.11), (34.155,58.85,34.415,59.11), (34.915,58.85,35.175,59.11), (34.915,58.85,35.175,59.11), (35.675,58.85,35.935,59.11), (35.675,58.85,35.935,59.11), (36.435,58.85,36.695,59.11), (36.435,58.85,36.695,59.11), (31.875,59.61,32.135,59.87), (31.875,59.61,32.135,59.87), (32.635,59.61,32.895,59.87), (32.635,59.61,32.895,59.87), (33.395,59.61,33.655,59.87), (33.395,59.61,33.655,59.87), (34.155,59.61,34.415,59.87), (34.155,59.61,34.415,59.87), (34.915,59.61,35.175,59.87), (34.915,59.61,35.175,59.87), (35.675,59.61,35.935,59.87), (35.675,59.61,35.935,59.87), (36.435,59.61,36.695,59.87), (36.435,59.61,36.695,59.87)])
A(injectionschottkypump, L42_0, 7.945, 42.965, 2.47, 1.245, 16, 2, 1.56, 31.315)
A(injectionschottkypump, L42_0, 60.605, 74.28, 2.47, 1.245, 16, 1, 1.56, 0)
R(injectionschottkypump, L42_0, [(38.455,49.73,43.695,50.99), (38.455,49.73,43.695,50.99), (31.665,58.73,36.905,59.99), (31.665,58.73,36.905,59.99), (58.885,60.28,64.125,61.54)])
A(injectionschottkypump, L46_0, 7.945, 42.965, 2.47, 1.245, 16, 2, 1.56, 31.315)
A(injectionschottkypump, L46_0, 60.605, 74.28, 2.47, 1.245, 16, 1, 1.56, 0)
R(injectionschottkypump, L46_0, [(41.2,0,44.2,41.2), (38.455,49.73,43.695,50.99), (38.455,49.73,43.695,50.99), (31.665,58.73,36.905,59.99), (31.665,58.73,36.905,59.99), (58.885,60.28,64.125,61.54), (41.2,77.29,44.2,118.49), (51.6,77.29,54.6,118.49)])
A(injectionschottkypump, L81_0, 7.945, 42.965, 2.47, 1.245, 16, 2, 1.56, 31.315)
A(injectionschottkypump, L81_0, 60.605, 74.28, 2.47, 1.245, 16, 1, 1.56, 0)
R(injectionschottkypump, L81_0, [(41.7,1,43.7,40.2), (7.945,40.6,33.815,42.965), (38.455,49.73,43.695,50.99), (38.455,49.73,43.695,50.99), (31.665,58.73,36.905,59.99), (31.665,58.73,36.905,59.99), (36.905,58.73,43.7,59.99), (36.905,58.73,43.7,59.99), (54.1,60.28,58.885,61.54), (58.885,60.28,64.125,61.54), (7.945,75.525,33.815,77.89), (60.605,75.525,86.475,77.89), (41.7,78.29,43.7,117.49), (52.1,78.29,54.1,117.49)])
injectionschottkypump.add(gdstk.FlexPath([(42.7,78.29),(42.7,58.74)], 2, ends="flush", simple_path=True, layer=81, datatype=0))  # L81_0
injectionschottkypump.add(gdstk.FlexPath([(42.7,40.2),(42.7,49.74),(42.7,49.74),(42.7,49.74),(42.7,49.74)], 2, ends="flush", simple_path=True, layer=81, datatype=0))  # L81_0
injectionschottkypump.add(gdstk.FlexPath([(53.1,78.29),(53.1,60.28)], 2, ends="flush", simple_path=True, layer=81, datatype=0))  # L81_0
injectionschottkypump.add(gdstk.FlexPath([(19.435,54.5),(0,54.5)], 1, ends="flush", simple_path=True, layer=34, datatype=0))  # L34_0
injectionschottkypump.add(gdstk.FlexPath([(19.335,63.2),(0,63.2)], 1, ends="flush", simple_path=True, layer=34, datatype=0))  # L34_0
injectionschottkypump.add(gdstk.FlexPath([(86.405,56.74),(58.885,56.74)], 1.16, ends="flush", simple_path=True, layer=34, datatype=0))  # L34_0
injectionschottkypump.add(gdstk.Reference(sc_diode, (31.02,53.16)))
injectionschottkypump.add(gdstk.Reference(sc_diode, (58.25,63.58)))
injectionschottkypump.add(gdstk.Reference(cap_mim, (55.2,77.89)))
injectionschottkypump.add(gdstk.Reference(cap_mim, (0.6,77.89)))
injectionschottkypump.add(gdstk.Reference(cap_mim, (0.6,0.6)))
injectionschottkypump.add(gdstk.Reference(sc_diode, (31.02,53.16)))
injectionschottkypump.add(gdstk.Reference(sc_diode, (58.25,63.58)))
injectionschottkypump.add(gdstk.Reference(sc_diode, (31.02,63.68)))
injectionschottkypump.add(gdstk.Label('Stage1_out', (34.402,55.563), layer=34, texttype=10))
injectionschottkypump.add(gdstk.Label('PHI2_w', (0.508,54.5), layer=34, texttype=10))
injectionschottkypump.add(gdstk.Label('PHI1_w', (0.508,63.18), layer=34, texttype=10))
injectionschottkypump.add(gdstk.Label('GND_w', (1.52,49.545), layer=34, texttype=10))
injectionschottkypump.add(gdstk.Label('Vin_w', (0.588,67.947), layer=34, texttype=10))
injectionschottkypump.add(gdstk.Label('Vout_e', (95.153,56.735), layer=34, texttype=10))
injectionschottkypump.add(gdstk.Label('Vin_w', (0.588,67.947), layer=34, texttype=10))
injectionschottkypump.add(gdstk.Label('Vout_e', (95.153,56.735), layer=34, texttype=10))
injectionschottkypump.add(gdstk.Label('Stage1_out', (34.343,61.35), layer=36, texttype=10))
injectionschottkypump.add(gdstk.Label('Stage2_out', (47.816,54.505), layer=36, texttype=10))
injectionschottkypump.add(gdstk.Label('Stage1_out', (34.406,57.373), layer=36, texttype=10))

lib.write_gds('InjectionSchottkyPump.gds')
